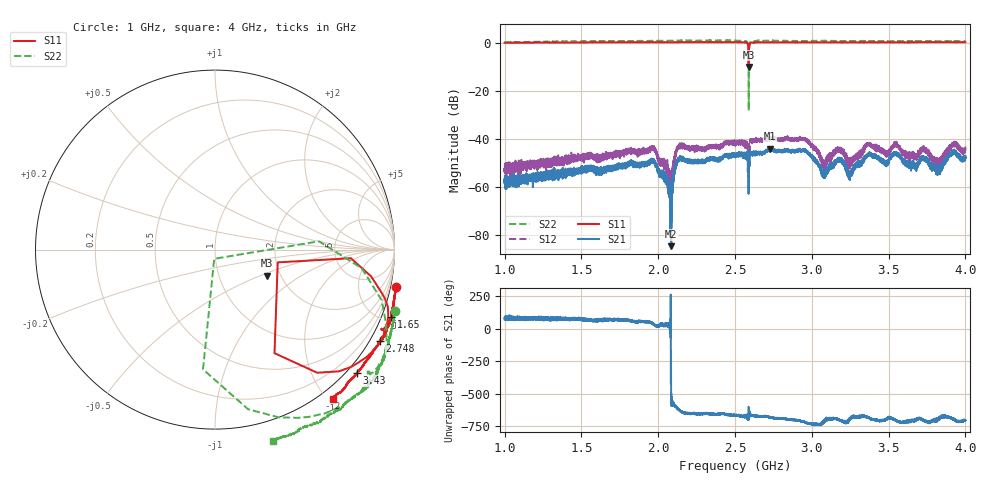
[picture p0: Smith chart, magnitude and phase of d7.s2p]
!Agilent Technologies,N5230C,SG49000117,A.08.50.07
!Agilent N5230C: A.08.50.07
!Date: Monday, May 20, 2024 21:11:15
!Correction: S11(Full 2 Port(1,2))
!S21(Full 2 Port(1,2))
!S12(Full 2 Port(1,2))
!S22(Full 2 Port(1,2))
!S2P File: Measurements: S11, S21, S12, S22:
# Hz S  MA  R 50
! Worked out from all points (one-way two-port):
!   20001 points, 1 GHz to 4 GHz, reference 50 ohm
!   highest |S21| = -43.96 dB at 2.728 GHz (marker M1); lowest = -84.8 dB at 2.084 GHz (marker M2)
!   lowest |S11| = -9.9 dB at 2.589 GHz (marker M3), VSWR 1.95, Z = 84.7 - j27.3 ohm
!   |S11| at or under -10 dB: nowhere
!   |S22| runs from -28.0 to 1.2 dB; largest |S21 - S12| = 0.0066
!   S11 on the Smith chart (normalised r, x): 1 GHz: -1.38, -9.71; 1.65 GHz: -0.72, -5.29; 2.748 GHz: -0.40, -3.83; 3.43 GHz: -0.19, -2.67; 4 GHz: -0.15, -2.05
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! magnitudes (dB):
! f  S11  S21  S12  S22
! 1 GHz  0.2  -58.4  -52.2  0.5
! 1.5 GHz  0.4  -52.0  -48.3  0.8
! 1.65 GHz  0.4  -52.6  -47.0  0.9
! 1.961 GHz  0.5  -48.6  -43.9  1.0
! 2 GHz  0.4  -53.4  -48.1  1.0
! 2.084 GHz  0.4  -84.8  -66.0  1.1
! 2.11 GHz  0.4  -52.7  -46.9  1.1
! 2.139 GHz  0.5  -48.0  -42.6  1.1
! 2.5 GHz  0.5  -46.9  -41.4  1.1
! 2.589 GHz  -9.9  -48.9  -46.8  -15.6
! 2.728 GHz  0.4  -44.0  -39.4  1.1
! 2.748 GHz  0.4  -44.5  -39.9  1.1
! 3 GHz  0.4  -47.7  -42.4  1.0
! 3.08 GHz  0.4  -54.8  -50.3  1.1
! 3.167 GHz  0.4  -49.0  -44.5  1.0
! 3.247 GHz  0.4  -55.7  -49.7  0.9
! 3.43 GHz  0.4  -47.8  -44.0  1.0
! 3.5 GHz  0.4  -48.8  -45.5  0.9
! 3.728 GHz  0.5  -48.3  -44.4  0.9
! 3.821 GHz  0.5  -52.5  -50.1  0.9
! 3.918 GHz  0.5  -45.8  -41.9  0.9
! 4 GHz  0.5  -48.0  -43.5  0.9
